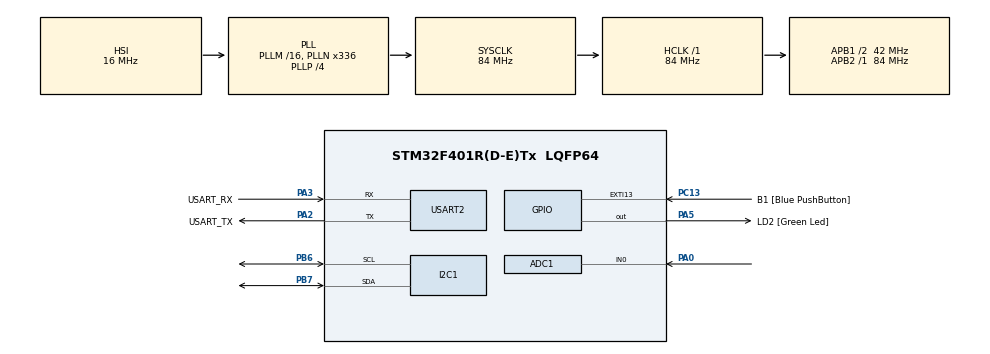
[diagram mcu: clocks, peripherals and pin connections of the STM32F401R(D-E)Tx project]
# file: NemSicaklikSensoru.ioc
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ADC1.Channel-0\#ChannelRegularConversion=ADC_CHANNEL_0
ADC1.NbrOfConversionFlag=1
ADC1.Rank-0\#ChannelRegularConversion=1
ADC1.SamplingTime-0\#ChannelRegularConversion=ADC_SAMPLETIME_28CYCLES
ADC1.master=1
Mcu.Family=STM32F4
Mcu.Name=STM32F401R(D-E)Tx
Mcu.Package=LQFP64
NVIC.PriorityGroup=NVIC_PRIORITYGROUP_4
PA0-WKUP.Signal=ADCx_IN0
PA13.GPIO_Label=TMS
PA13.Mode=Trace_Asynchronous_SW
PA13.Signal=SYS_JTMS-SWDIO
PA14.GPIO_Label=TCK
PA14.Mode=Trace_Asynchronous_SW
PA14.Signal=SYS_JTCK-SWCLK
PA2.GPIO_Label=USART_TX
PA2.GPIO_Mode=GPIO_MODE_AF_PP
PA2.GPIO_PuPd=GPIO_NOPULL
PA2.GPIO_Speed=GPIO_SPEED_FREQ_LOW
PA2.Mode=Asynchronous
PA2.Signal=USART2_TX
PA3.GPIO_Label=USART_RX
PA3.GPIO_Mode=GPIO_MODE_AF_PP
PA3.GPIO_PuPd=GPIO_NOPULL
PA3.GPIO_Speed=GPIO_SPEED_FREQ_LOW
PA3.Mode=Asynchronous
PA3.Signal=USART2_RX
PA5.GPIO_Label=LD2 [Green Led]
PA5.GPIO_Mode=GPIO_MODE_OUTPUT_PP
PA5.GPIO_PuPd=GPIO_NOPULL
PA5.GPIO_Speed=GPIO_SPEED_FREQ_LOW
PA5.Signal=GPIO_Output
PB3.GPIO_Label=SWO
PB3.Mode=Trace_Asynchronous_SW
PB3.Signal=SYS_JTDO-SWO
PB6.Mode=I2C
PB6.Signal=I2C1_SCL
PB7.Mode=I2C
PB7.Signal=I2C1_SDA
PC13-ANTI_TAMP.GPIO_Label=B1 [Blue PushButton]
PC13-ANTI_TAMP.GPIO_ModeDefaultEXTI=GPIO_MODE_IT_FALLING
PC13-ANTI_TAMP.GPIO_PuPd=GPIO_NOPULL
PC13-ANTI_TAMP.Signal=GPXTI13
PC14-OSC32_IN.Mode=LSE-External-Oscillator
PC14-OSC32_IN.Signal=RCC_OSC32_IN
PC15-OSC32_OUT.Mode=LSE-External-Oscillator
PC15-OSC32_OUT.Signal=RCC_OSC32_OUT
PH0\ -\ OSC_IN.Mode=HSE-External-Clock-Source
PH0\ -\ OSC_IN.Signal=RCC_OSC_IN
PH1\ -\ OSC_OUT.Mode=HSE-External-Clock-Source
PH1\ -\ OSC_OUT.Signal=RCC_OSC_OUT
ProjectManager.HeapSize=0x200
ProjectManager.StackSize=0x400
ProjectManager.TargetToolchain=STM32CubeIDE
RCC.48MHZClocksFreq_Value=48000000
RCC.AHBFreq_Value=84000000
RCC.APB1CLKDivider=RCC_HCLK_DIV2
RCC.APB1Freq_Value=42000000
RCC.APB1TimFreq_Value=84000000
RCC.APB2Freq_Value=84000000
RCC.APB2TimFreq_Value=84000000
RCC.CortexFreq_Value=84000000
RCC.HCLKFreq_Value=84000000
RCC.HSE_VALUE=8000000
RCC.HSI_VALUE=16000000
RCC.PLLN=336
RCC.PLLP=RCC_PLLP_DIV4
RCC.PLLQ=7
RCC.SYSCLKFreq_VALUE=84000000
RCC.SYSCLKSource=RCC_SYSCLKSOURCE_PLLCLK
RCC.VCOOutputFreq_Value=336000000
SH.ADCx_IN0.0=ADC1_IN0,IN0
USART2.VirtualMode=VM_ASYNC
board=NUCLEO-F401RE

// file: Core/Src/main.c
/* USER CODE BEGIN Header */
/**
  ******************************************************************************
  * @file           : main.c
  * @brief          : Main program body
  ******************************************************************************
  * @attention
  *
  * Copyright (c) 2025 STMicroelectronics.
  * All rights reserved.
  *
  * This software is licensed under terms that can be found in the LICENSE file
  * in the root directory of this software component.
  * If no LICENSE file comes with this software, it is provided AS-IS.
  *
  ******************************************************************************
  */
/* USER CODE END Header */
#include "main.h"

#include "BMP280/bmp280.h"
/* USER CODE BEGIN Includes */
#define RESET_REG 0xE0
#define CTRL_HUM_REG 0xF2
#define CTRL_MEAS_REG 0xF4
#define CONFIG_REG 0xF5
#define PRESS_MSB_REG 0xFC
#define BME280_ADDRESS 0x76
/* USER CODE END Includes */

/* USER CODE BEGIN PTD */
uint16_t chipID = 0x60, Temperature, Pressure, Humidity, pRaw, tRaw, hRaw;
/* USER CODE END PTD */

/* USER CODE BEGIN PD */
BMP280_HandleTypedef bmp280;

float pressure, temperature, humidity;

uint16_t size;
uint8_t Data[256];
/* USER CODE END PD */

ADC_HandleTypeDef hadc1;

I2C_HandleTypeDef hi2c1;

UART_HandleTypeDef huart2;

/* USER CODE BEGIN PV */
int BME280_Config (uint8_t osrs_t, uint8_t osrs_p, uint8_t osrs_h, uint8_t mode, uint8_t t_sb, uint8_t filter )
{
	// Read the Trimming parameters
	//TrimRead();

	uint8_t datatowrite = 0;
	uint8_t datacheck = 0;

	// Reset the device
	datatowrite = 0xB6;  // reset sequence
	if (HAL_I2C_Mem_Write(&hi2c1, BME280_ADDRESS, RESET_REG, 1, &datatowrite, 1, 1000) != HAL_OK)
	{
		return -1;
	}

	HAL_Delay (100);

	// write the humidity oversampling to 0xF2
	datatowrite = osrs_h;
	if (HAL_I2C_Mem_Write(&hi2c1, BME280_ADDRESS, CTRL_HUM_REG, 1, &datatowrite, 1, 1000) != HAL_OK)
	{
		return -1;
	}
	HAL_Delay (100);
	HAL_I2C_Mem_Read(&hi2c1, BME280_ADDRESS, CTRL_HUM_REG, 1, &datacheck, 1, 1000);
	if (datacheck != datatowrite)
	{
		return -1;
	}

	// write the standby time and IIR filter coeff to 0xF5
	datatowrite = (t_sb <<5) |(filter << 2);
	if (HAL_I2C_Mem_Write(&hi2c1, BME280_ADDRESS, CONFIG_REG, 1, &datatowrite, 1, 1000) != HAL_OK)
	{
		return -1;
	}
	HAL_Delay (100);
	HAL_I2C_Mem_Read(&hi2c1, BME280_ADDRESS, CONFIG_REG, 1, &datacheck, 1, 1000);
	if (datacheck != datatowrite)
	{
		return -1;
	}

	// write the pressure and temp oversampling along with mode to 0xF4
	datatowrite = (osrs_t <<5) |(osrs_p << 2) | mode;
	if (HAL_I2C_Mem_Write(&hi2c1, BME280_ADDRESS, CTRL_MEAS_REG, 1, &datatowrite, 1, 1000) != HAL_OK)
	{
		return -1;
	}
	HAL_Delay (100);
	HAL_I2C_Mem_Read(&hi2c1, BME280_ADDRESS, CTRL_MEAS_REG, 1, &datacheck, 1, 1000);
	if (datacheck != datatowrite)
	{
		return -1;
	}

	return 0;
}

int BMEReadRaw(void)
{
	uint8_t RawData[8];

	// Check the chip ID before reading
	//HAL_I2C_Mem_Read(&hi2c1, BME280_ADDRESS, ID_REG, 1, &chipID, 1, 1000);

	if (chipID == 0x60)
	{
		// Read the Registers 0xF7 to 0xFE
		HAL_I2C_Mem_Read(&hi2c1, BME280_ADDRESS, PRESS_MSB_REG, 1, RawData, 8, HAL_MAX_DELAY);

		/* Calculate the Raw data for the parameters
		 * Here the Pressure and Temperature are in 20 bit format and humidity in 16 bit format
		 */
		pRaw = (RawData[0]<<12)|(RawData[1]<<4)|(RawData[2]>>4);
		tRaw = (RawData[3]<<12)|(RawData[4]<<4)|(RawData[5]>>4);
		hRaw = (RawData[6]<<8)|(RawData[7]);

		return 0;
	}

	else return -1;
}

void BME280_Measure (void)
{

	if (BMEReadRaw() == 0)
	{

		  if (tRaw == 0x800000) Temperature = 0; // value in case temp measurement was disabled
		  else
		  {
			  Temperature = (tRaw)/100.0;  // as per datasheet, the temp is x100
		  }

		  if (pRaw == 0x800000) Pressure = 0; // value in case temp measurement was disabled
		  else
		  {
#if SUPPORT_64BIT
			  Pressure = (pRaw)/256.0;  // as per datasheet, the pressure is x256

#elif SUPPORT_32BIT
			  Pressure =  (pRaw);  // as per datasheet, the pressure is Pa

#endif
		  }

		  if (hRaw == 0x8000) Humidity = 0; // value in case temp measurement was disabled
		  else
		  {
			  Humidity =  (hRaw)/1024.0;  // as per datasheet, the temp is x1024
		  }
	}

	// if the device is detached
	else
	{
		Temperature = Pressure = Humidity = 0;
	}

}

/* USER CODE END PV */

void SystemClock_Config(void);
static void MX_GPIO_Init(void);
static void MX_USART2_UART_Init(void);
static void MX_I2C1_Init(void);
static void MX_ADC1_Init(void);

/* USER CODE BEGIN 0 */
uint8_t readData[3];
/* USER CODE END 0 */

int main(void)
{

  /* MCU Configuration--------------------------------------------------------*/

  /* Reset of all peripherals, Initializes the Flash interface and the Systick. */
  HAL_Init();

  /* Configure the system clock */
  SystemClock_Config();

  /* Initialize all configured peripherals */
  MX_GPIO_Init();
  MX_USART2_UART_Init();
  MX_I2C1_Init();
  MX_ADC1_Init();
  /* USER CODE BEGIN 2 */
  bmp280_init_default_params(&bmp280.params);
  bmp280.addr = BMP280_I2C_ADDRESS_0;
  bmp280.i2c = &hi2c1;

  	while (!bmp280_init(&bmp280, &bmp280.params)) {

  	}
  	bool bme280p = bmp280.id == BME280_CHIP_ID;
  /* USER CODE END 2 */

  /* Infinite loop */
  while (1)
  {
	  HAL_Delay(100);
	  		while (!bmp280_read_float(&bmp280, &temperature, &pressure, &humidity)) {
	  			HAL_GPIO_WritePin(GPIOA, GPIO_PIN_5, 1);
	  		}

  }
}

void SystemClock_Config(void)
{
  RCC_OscInitTypeDef RCC_OscInitStruct = {0};
  RCC_ClkInitTypeDef RCC_ClkInitStruct = {0};

  /** Configure the main internal regulator output voltage
  */
  __HAL_RCC_PWR_CLK_ENABLE();
  __HAL_PWR_VOLTAGESCALING_CONFIG(PWR_REGULATOR_VOLTAGE_SCALE2);

  /** Initializes the RCC Oscillators according to the specified parameters
  * in the RCC_OscInitTypeDef structure.
  */
  RCC_OscInitStruct.OscillatorType = RCC_OSCILLATORTYPE_HSI;
  RCC_OscInitStruct.HSIState = RCC_HSI_ON;
  RCC_OscInitStruct.HSICalibrationValue = RCC_HSICALIBRATION_DEFAULT;
  RCC_OscInitStruct.PLL.PLLState = RCC_PLL_ON;
  RCC_OscInitStruct.PLL.PLLSource = RCC_PLLSOURCE_HSI;
  RCC_OscInitStruct.PLL.PLLM = 16;
  RCC_OscInitStruct.PLL.PLLN = 336;
  RCC_OscInitStruct.PLL.PLLP = RCC_PLLP_DIV4;
  RCC_OscInitStruct.PLL.PLLQ = 7;
  if (HAL_RCC_OscConfig(&RCC_OscInitStruct) != HAL_OK)
  {
    Error_Handler();
  }

  /** Initializes the CPU, AHB and APB buses clocks
  */
  RCC_ClkInitStruct.ClockType = RCC_CLOCKTYPE_HCLK|RCC_CLOCKTYPE_SYSCLK
                              |RCC_CLOCKTYPE_PCLK1|RCC_CLOCKTYPE_PCLK2;
  RCC_ClkInitStruct.SYSCLKSource = RCC_SYSCLKSOURCE_PLLCLK;
  RCC_ClkInitStruct.AHBCLKDivider = RCC_SYSCLK_DIV1;
  RCC_ClkInitStruct.APB1CLKDivider = RCC_HCLK_DIV2;
  RCC_ClkInitStruct.APB2CLKDivider = RCC_HCLK_DIV1;

  if (HAL_RCC_ClockConfig(&RCC_ClkInitStruct, FLASH_LATENCY_2) != HAL_OK)
  {
    Error_Handler();
  }
}

static void MX_ADC1_Init(void)
{

  ADC_ChannelConfTypeDef sConfig = {0};

  /** Configure the global features of the ADC (Clock, Resolution, Data Alignment and number of conversion)
  */
  hadc1.Instance = ADC1;
  hadc1.Init.ClockPrescaler = ADC_CLOCK_SYNC_PCLK_DIV4;
  hadc1.Init.Resolution = ADC_RESOLUTION_12B;
  hadc1.Init.ScanConvMode = DISABLE;
  hadc1.Init.ContinuousConvMode = DISABLE;
  hadc1.Init.DiscontinuousConvMode = DISABLE;
  hadc1.Init.ExternalTrigConvEdge = ADC_EXTERNALTRIGCONVEDGE_NONE;
  hadc1.Init.ExternalTrigConv = ADC_SOFTWARE_START;
  hadc1.Init.DataAlign = ADC_DATAALIGN_RIGHT;
  hadc1.Init.NbrOfConversion = 1;
  hadc1.Init.DMAContinuousRequests = DISABLE;
  hadc1.Init.EOCSelection = ADC_EOC_SINGLE_CONV;
  if (HAL_ADC_Init(&hadc1) != HAL_OK)
  {
    Error_Handler();
  }

  /** Configure for the selected ADC regular channel its corresponding rank in the sequencer and its sample time.
  */
  sConfig.Channel = ADC_CHANNEL_0;
  sConfig.Rank = 1;
  sConfig.SamplingTime = ADC_SAMPLETIME_28CYCLES;
  if (HAL_ADC_ConfigChannel(&hadc1, &sConfig) != HAL_OK)
  {
    Error_Handler();
  }

}

static void MX_I2C1_Init(void)
{

  hi2c1.Instance = I2C1;
  hi2c1.Init.ClockSpeed = 100000;
  hi2c1.Init.DutyCycle = I2C_DUTYCYCLE_2;
  hi2c1.Init.OwnAddress1 = 0;
  hi2c1.Init.AddressingMode = I2C_ADDRESSINGMODE_7BIT;
  hi2c1.Init.DualAddressMode = I2C_DUALADDRESS_DISABLE;
  hi2c1.Init.OwnAddress2 = 0;
  hi2c1.Init.GeneralCallMode = I2C_GENERALCALL_DISABLE;
  hi2c1.Init.NoStretchMode = I2C_NOSTRETCH_DISABLE;
  if (HAL_I2C_Init(&hi2c1) != HAL_OK)
  {
    Error_Handler();
  }

}

static void MX_USART2_UART_Init(void)
{

  huart2.Instance = USART2;
  huart2.Init.BaudRate = 115200;
  huart2.Init.WordLength = UART_WORDLENGTH_8B;
  huart2.Init.StopBits = UART_STOPBITS_1;
  huart2.Init.Parity = UART_PARITY_NONE;
  huart2.Init.Mode = UART_MODE_TX_RX;
  huart2.Init.HwFlowCtl = UART_HWCONTROL_NONE;
  huart2.Init.OverSampling = UART_OVERSAMPLING_16;
  if (HAL_UART_Init(&huart2) != HAL_OK)
  {
    Error_Handler();
  }

}

static void MX_GPIO_Init(void)
{
  GPIO_InitTypeDef GPIO_InitStruct = {0};

  /* GPIO Ports Clock Enable */
  __HAL_RCC_GPIOC_CLK_ENABLE();
  __HAL_RCC_GPIOH_CLK_ENABLE();
  __HAL_RCC_GPIOA_CLK_ENABLE();
  __HAL_RCC_GPIOB_CLK_ENABLE();

  /*Configure GPIO pin Output Level */
  HAL_GPIO_WritePin(LD2_GPIO_Port, LD2_Pin, GPIO_PIN_RESET);

  /*Configure GPIO pin : B1_Pin */
  GPIO_InitStruct.Pin = B1_Pin;
  GPIO_InitStruct.Mode = GPIO_MODE_IT_FALLING;
  GPIO_InitStruct.Pull = GPIO_NOPULL;
  HAL_GPIO_Init(B1_GPIO_Port, &GPIO_InitStruct);

  /*Configure GPIO pin : LD2_Pin */
  GPIO_InitStruct.Pin = LD2_Pin;
  GPIO_InitStruct.Mode = GPIO_MODE_OUTPUT_PP;
  GPIO_InitStruct.Pull = GPIO_NOPULL;
  GPIO_InitStruct.Speed = GPIO_SPEED_FREQ_LOW;
  HAL_GPIO_Init(LD2_GPIO_Port, &GPIO_InitStruct);

}

void Error_Handler(void)
{
  __disable_irq();
  while (1)
  {
  }
}
